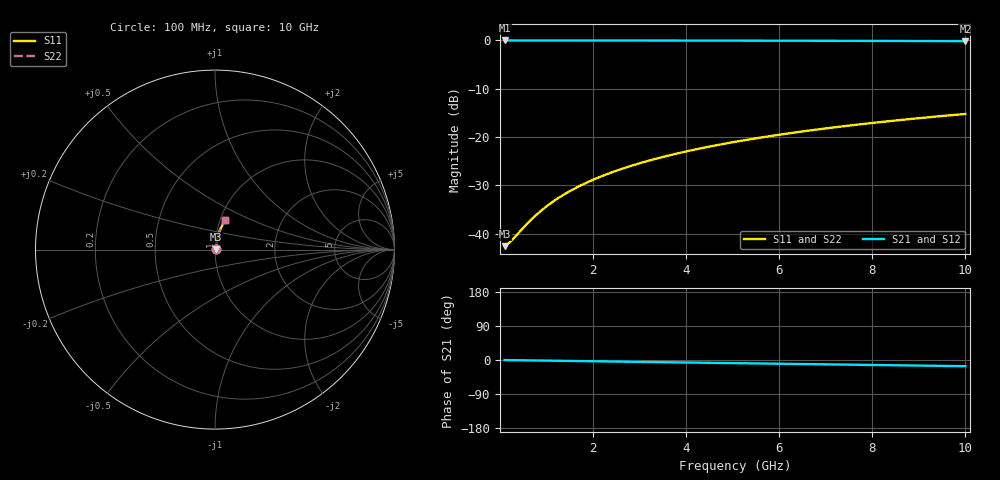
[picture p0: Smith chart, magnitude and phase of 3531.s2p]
# Hz S RI R 50.00
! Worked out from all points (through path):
!   100 points, 100 MHz to 10 GHz, reference 50 ohm
!   highest |S21| = -0.06 dB at 100 MHz (marker M1); lowest = -0.2 dB at 10 GHz (marker M2)
!   group delay of S21, straight-line fit = 4.54 ps
!   lowest |S11| = -42.6 dB at 100 MHz (marker M3), VSWR 1.01, Z = 50.7 + j0.177 ohm
!   |S11| at or under -10 dB: start of sweep to end of sweep
!   |S22| runs from -42.6 to -15.2 dB; largest |S21 - S12| = 0
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1e8  0.00724 0.00175  0.9928 -0.00285  0.9928 -0.00285  0.00724 0.00175
2e8  0.0073 0.00349  0.9927 -0.00571  0.9927 -0.00571  0.0073 0.00349
3e8  0.00736 0.00524  0.9926 -0.00856  0.9926 -0.00856  0.00736 0.00524
5e8  0.00749 0.00873  0.9925 -0.0143  0.9925 -0.0143  0.00749 0.00873
7e8  0.00765 0.0122  0.9923 -0.02  0.9923 -0.02  0.00765 0.0122
8e8  0.00774 0.014  0.9922 -0.0228  0.9922 -0.0228  0.00774 0.014
1e9  0.00795 0.0174  0.992 -0.0285  0.992 -0.0285  0.00795 0.0174
1.2e9  0.0082 0.0209  0.9917 -0.0342  0.9917 -0.0342  0.0082 0.0209
1.4e9  0.00849 0.0244  0.9914 -0.0399  0.9914 -0.0399  0.00849 0.0244
1.6e9  0.00881 0.0279  0.991 -0.0456  0.991 -0.0456  0.00881 0.0279
1.8e9  0.00917 0.0313  0.9906 -0.0513  0.9906 -0.0513  0.00917 0.0313
2.1e9  0.00979 0.0365  0.9899 -0.0598  0.9899 -0.0598  0.00979 0.0365
2.5e9  0.0107 0.0434  0.9889 -0.0711  0.9889 -0.0711  0.0107 0.0434
2.9e9  0.0118 0.0503  0.9876 -0.0824  0.9876 -0.0824  0.0118 0.0503
3.4e9  0.0135 0.0589  0.9858 -0.0965  0.9858 -0.0965  0.0135 0.0589
4.2e9  0.0165 0.0724  0.9824 -0.1189  0.9824 -0.1189  0.0165 0.0724
5.1e9  0.0207 0.0875  0.9777 -0.144  0.9777 -0.144  0.0207 0.0875
5.9e9  0.025 0.1006  0.9728 -0.166  0.9728 -0.166  0.025 0.1006
6.7e9  0.03 0.1135  0.9672 -0.1878  0.9672 -0.1878  0.03 0.1135
7.5e9  0.0354 0.1261  0.961 -0.2093  0.961 -0.2093  0.0354 0.1261
8.4e9  0.0423 0.14  0.9533 -0.2331  0.9533 -0.2331  0.0423 0.14
1e10  0.056 0.1635  0.9377 -0.2745  0.9377 -0.2745  0.056 0.1635
